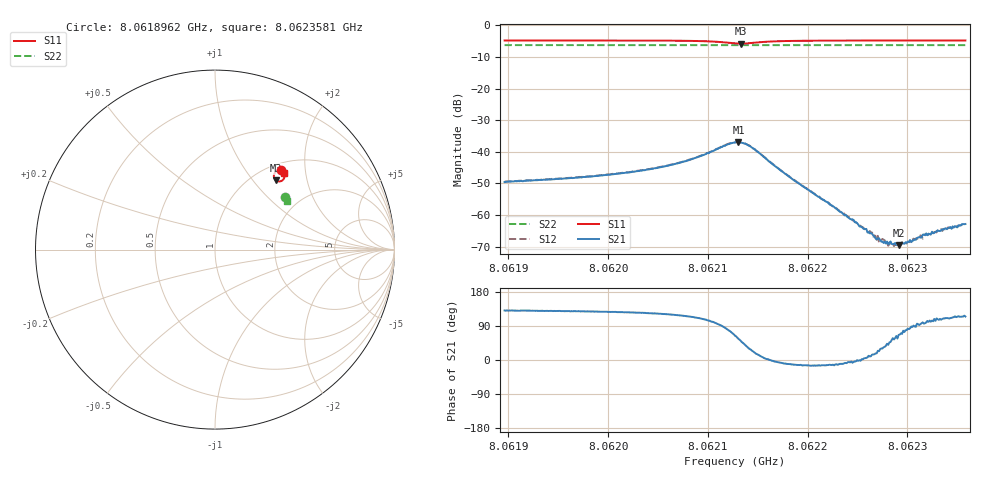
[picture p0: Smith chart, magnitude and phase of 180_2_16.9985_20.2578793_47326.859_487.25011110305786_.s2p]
#  HZ  S  RI  R  50.00
! Rohde & Schwarz Vector Network Analyzer
! Rohde-Schwarz,ZNB20-2Port,1311601062101988,3.16
! Created: UTC 3/20/2024, 11:00:07 PM
! freq[Hz]  re:S11  im:S11  re:S21  im:S21  re:S12  im:S12  re:S22  im:S22
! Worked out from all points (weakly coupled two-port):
!   401 points, 8.0618962 GHz to 8.0623581 GHz, reference 50 ohm
!   highest |S21| = -36.93 dB at 8.0621306 GHz (marker M1); lowest = -69.6 dB at 8.0622911 GHz (marker M2)
!   lowest |S11| = -5.8 dB at 8.0621329 GHz (marker M3), VSWR 3.11, Z = 62.7 + j65.9 ohm
!   |S11| at or under -10 dB: nowhere
!   |S22| runs from -6.3 to -6.3 dB; largest |S21 - S12| = 0.00097
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8.06189622e9  0.3696 0.4416  -0.00216 0.00251  -0.00206 0.0027  0.3874 0.2937
8.06197359e9  0.3758 0.4355  -0.00245 0.00307  -0.0023 0.00327  0.39 0.2899
8.06202208e9  0.3804 0.4301  -0.00275 0.00386  -0.00253 0.00407  0.3916 0.2874
8.06205095e9  0.3837 0.4249  -0.00301 0.00476  -0.00275 0.00501  0.3927 0.2858
8.06208444e9  0.3873 0.4133  -0.00307 0.00703  -0.00269 0.00728  0.3936 0.2836
8.06211908e9  0.3706 0.3826  0.00188 0.0128  0.00271 0.0128  0.3936 0.2809
8.06212716e9  0.3526 0.38  0.00605 0.0125  0.00683 0.0124  0.3931 0.2806
8.06213063e9  0.344 0.383  0.00801 0.0118  0.00862 0.0113  0.3927 0.2809
8.06213294e9  0.3386 0.3864  0.00887 0.0108  0.00958 0.0103  0.3927 0.2811
8.06214448e9  0.3277 0.4125  0.0105 0.00464  0.0109 0.00389  0.393 0.2818
8.06217335e9  0.3511 0.4386  0.00497 -0.000641  0.00495 -0.000961  0.3953 0.2812
8.06220453e9  0.3653 0.4386  0.00219 -0.000569  0.00218 -0.00073  0.3969 0.2795
8.06224726e9  0.3743 0.4353  0.000766 -4.98e-05  0.000777 -0.000102  0.3987 0.2772
8.06226804e9  0.3771 0.4337  0.000406 0.000128  0.000455 9.65e-05  0.3995 0.2762
8.0622715e9  0.3776 0.4335  0.000392 0.000169  0.000335 0.00015  0.3994 0.276
8.06227612e9  0.3781 0.4331  0.0003 0.0002  0.00037 0.000166  0.3996 0.2759
8.0622819e9  0.3788 0.4327  0.00025 0.000264  0.000255 0.000229  0.3998 0.2755
8.06229113e9  0.3798 0.432  0.000133 0.000302  0.000176 0.000292  0.4002 0.2749
8.06230615e9  0.3813 0.4311  -6.21e-06 0.000398  6.92e-05 0.000416  0.4006 0.2741
8.06231654e9  0.3822 0.4301  -5.17e-05 0.000487  -4.94e-05 0.000445  0.401 0.2737
8.06233155e9  0.3835 0.4293  -0.000155 0.000536  -0.000162 0.000549  0.4015 0.2728
8.06235811e9  0.3856 0.4277  -0.000301 0.000652  -0.000268 0.000661  0.4023 0.2716
